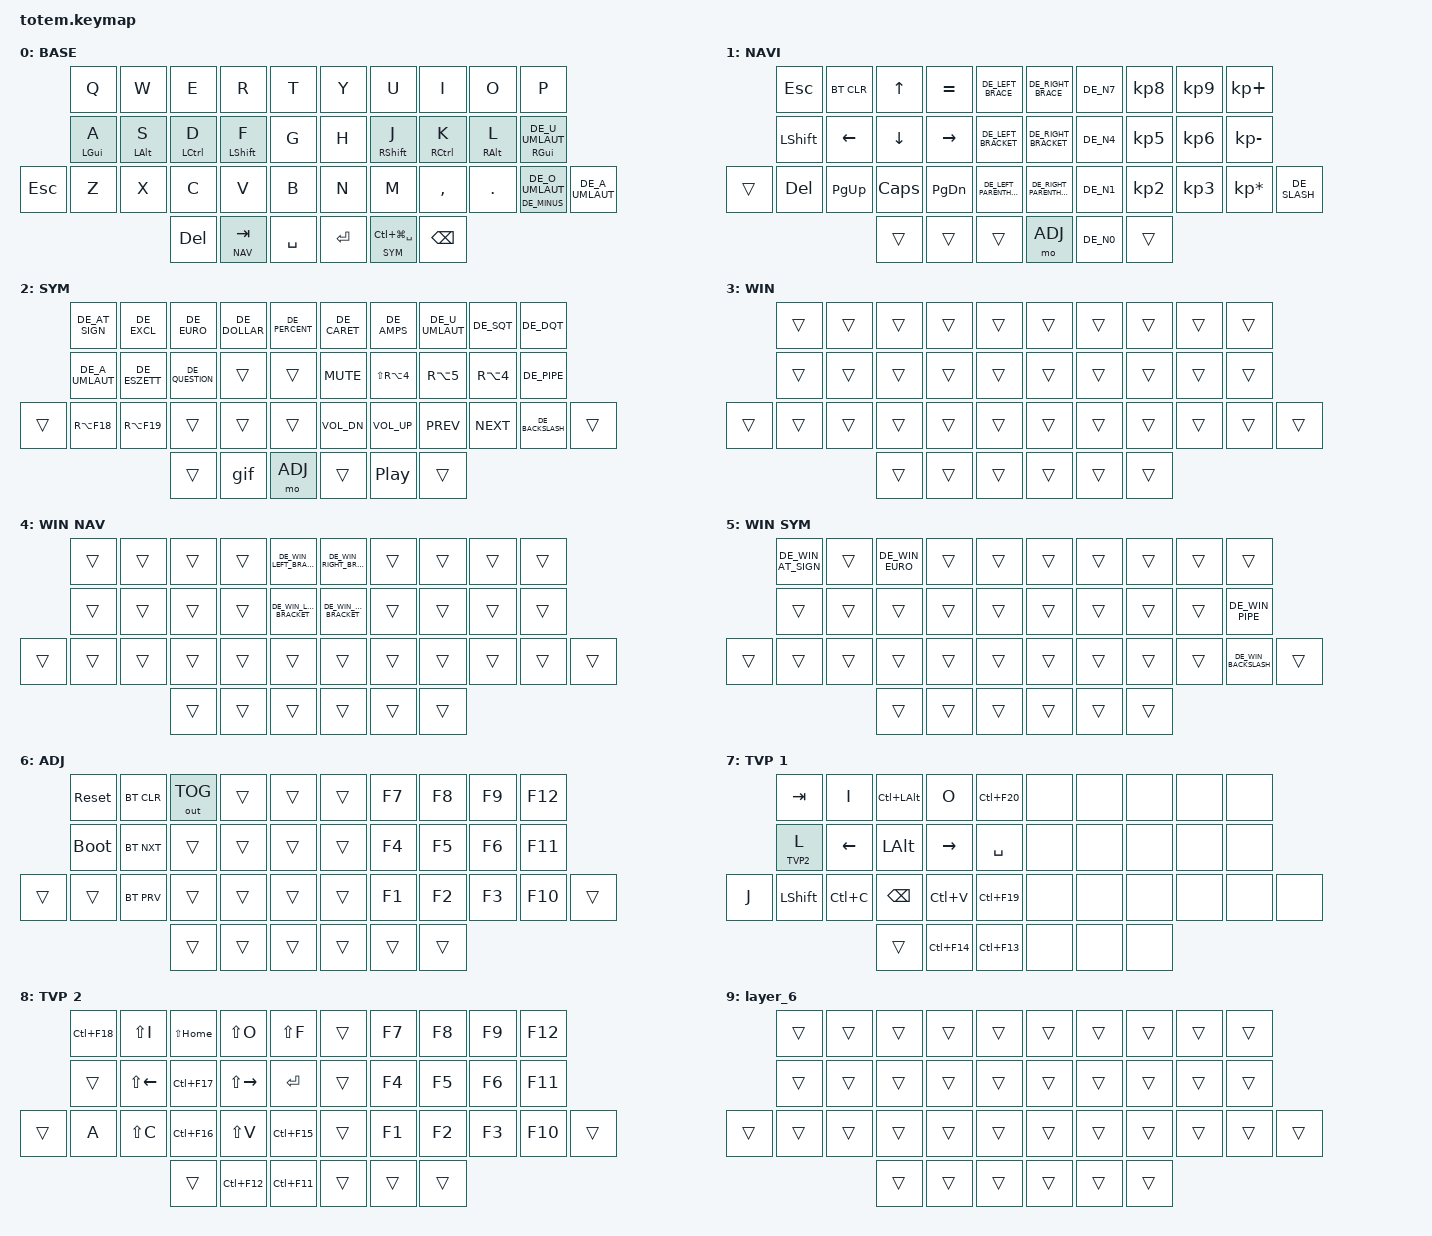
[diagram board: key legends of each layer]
//
//                                                        ▀▀▀▀▀     ▀▀▀▀▀          ▀▀█▀▀
//                                                        ▄▀▀▀▄  ▄  ▄▀▀▀▄  ▄  ▄▀▀▀▄  █  ▄▀▀▀▄
//                                                        █   █  █  █   █  █  █   █  █  █   █
//                                                         ▀▀▀   █   ▀▀▀   █   ▀▀▀   ▀   ▀▀▀
//                                                               █      ▄▄▄█▄▄▄    █   █
//                                                               ▀      █  █  █     █▄█
//                                                             ▀▀▀▀▀    █  █  █      ▀
//                                                                      ▀  ▀  ▀
//
// ▄▄▄▄▄▄▄▄▄▄▄▄▄▄▄▄▄▄▄▄▄▄▄▄▄▄▄▄▄▄▄▄▄▄▄▄▄▄▄▄▄▄▄▄▄▄▄▄▄▄▄▄▄▄▄▄▄▄▄▄▄▄▄▄▄▄▄▄▄▄▄▄▄▄▄▄▄▄▄▄▄▄▄▄▄▄▄▄▄▄▄▄▄▄▄▄▄▄▄▄▄▄▄▄▄▄▄▄▄▄▄▄▄▄▄▄▄▄▄▄▄▄▄▄▄▄▄▄▄▄▄▄▄▄▄▄▄▄▄▄▄▄▄▄▄▄▄▄▄

#include "keys_de.h"

//#include "keymap_german.h"

#include <behaviors.dtsi>
#include <dt-bindings/zmk/bt.h>
#include <dt-bindings/zmk/keys.h>
#include <dt-bindings/zmk/outputs.h>

#define BASE 0
#define NAV  1
#define SYM  2
#define ADJ  3
#define TVP1    4
#define TVP2    5
#define WIN     6  // Toggle for Windows/Linux German third-level symbols
#define WIN_NAV 7  // Active automatically when WIN + NAV are on
#define WIN_SYM 8  // Active automatically when WIN + SYM are on

&mt {
    quick-tap-ms = <130>;
    global-quick-tap;
    flavor = "tap-preferred";
    tapping-term-ms = <200>;
};

/ {
    combos {
        compatible = "zmk,combos";

        combo_esc {
            timeout-ms = <50>;
            key-positions = <0 1>;
            bindings = <&kp ESC>;
        };

        combo_tvp {
            timeout-ms = <100>;
            key-positions = <11 12 13>;
            bindings = <&tog TVP1>;
        };
    };

    conditional_layers {
        compatible = "zmk,conditional-layers";

        win_nav_cond {
            if-layers = <WIN NAV>;
            then-layer = <WIN_NAV>;
        };

        win_sym_cond {
            if-layers = <WIN SYM>;
            then-layer = <WIN_SYM>;
        };
    };

    macros {
        gif: gif {
            label = "giphy";
            compatible = "zmk,behavior-macro";
            #binding-cells = <0>;
            bindings =
                <&macro_press>,
                <&kp LSHFT>,
                <&macro_tap>,
                <&kp N2>,
                <&macro_release>,
                <&kp LSHFT>,
                <&macro_tap>,
                <&kp G &kp I &kp F>;
        };

        emoji: emoji {
            compatible = "zmk,behavior-macro";
            #binding-cells = <0>;
            bindings = <&kp LC(LEFT_COMMAND) &kp SPACE>;
            label = "EMOJI";
        };
    };

    keymap {
        compatible = "zmk,keymap";

        // ▄▄▄▄▄▄▄▄▄▄▄▄▄▄▄▄▄▄▄▄▄▄▄▄▄▄▄▄▄▄▄▄▄▄▄▄▄▄▄▄▄▄▄▄▄▄▄▄▄▄▄▄▄▄▄▄▄▄▄▄▄▄▄▄▄▄▄▄▄▄▄▄▄▄▄▄▄▄▄▄▄▄▄▄▄▄▄▄▄▄▄▄▄▄▄▄▄▄▄▄▄▄▄▄▄▄▄▄▄▄▄▄▄▄▄▄▄▄▄▄▄▄▄▄▄▄▄▄▄▄▄▄▄▄▄▄▄▄▄▄▄▄▄▄▄▄▄▄▄

        base_layer {
            // ┏━━━━━━━━━━━━━━━━━━━━━━━━━━━━━━━━━━━━━━━┓

            label = "BASE";

            // ┗━━━━━━━━━━━━━━━━━━━━━━━━━━━━━━━━━━━━━━━┛
            //             ┏━━━━━━━━━━━┳━━━━━━━━━━━┳━━━━━━━━━━━┳━━━━━━━━━━━┳━━━━━━━━━━━┓   ┏━━━━━━━━━━━┳━━━━━━━━━━━┳━━━━━━━━━━━┳━━━━━━━━━━━┳━━━━━━━━━━━┓
            //             ┃     Q     ┃     W     ┃     F     ┃     P     ┃     G     ┃   ┃     J     ┃     L     ┃     U     ┃     Y     ┃     ;     ┃
            //             ┣━━━━━━━━━━━╋━━━━━━━━━━━╋━━━━━━━━━━━╋━━━━━━━━━━━╋━━━━━━━━━━━┫   ┣━━━━━━━━━━━╋━━━━━━━━━━━╋━━━━━━━━━━━╋━━━━━━━━━━━╋━━━━━━━━━━━┫
            //             ┃     A     ┃     R     ┃     S     ┃     T     ┃     D     ┃   ┃     H     ┃     N     ┃     E     ┃     I     ┃     O     ┃
            // ┏━━━━━━━━━━━╋━━━━━━━━━━━╋━━━━━━━━━━━╋━━━━━━━━━━━╋━━━━━━━━━━━╋━━━━━━━━━━━┫   ┣━━━━━━━━━━━╋━━━━━━━━━━━╋━━━━━━━━━━━╋━━━━━━━━━━━╋━━━━━━━━━━━╋━━━━━━━━━━━┓
            // ┃     Q     ┃     Z     ┃     X     ┃     C     ┃     V     ┃     B     ┃   ┃     K     ┃     M     ┃     ,     ┃     .     ┃     /     ┃     \     ┃
            // ┗━━━━━━━━━━━┻━━━━━━━━━━━┻━━━━━━━━━━━╋━━━━━━━━━━━╋━━━━━━━━━━━╋━━━━━━━━━━━┫   ┣━━━━━━━━━━━╋━━━━━━━━━━━╋━━━━━━━━━━━╋━━━━━━━━━━━┻━━━━━━━━━━━┻━━━━━━━━━━━┛
            //                                     ┃    DEL    ┃    TAB    ┃    SPC    ┃   ┃   ENTER   ┃           ┃   BSPC    ┃
            //                                     ┗━━━━━━━━━━━┻━━━━━━━━━━━┻━━━━━━━━━━━┛   ┗━━━━━━━━━━━┻━━━━━━━━━━━┻━━━━━━━━━━━┛

            bindings = <
         &kp Q       &kp W       &kp E        &kp R        &kp T        &kp Y    &kp U                  &kp I        &kp O       &kp P
         &mt LGUI A  &mt LALT S  &mt LCTRL D  &mt LSHFT F  &kp G        &kp H    &mt RSHFT J            &mt RCTRL K  &mt RALT L  &mt RGUI DE_U_UMLAUT
&kp ESC  &kp Z       &kp X       &kp C        &kp V        &kp B        &kp N    &kp M                  &kp COMMA    &kp DOT     &mt DE_MINUS DE_O_UMLAUT  &kp DE_A_UMLAUT
                                 &kp DEL      &lt NAV TAB  &kp SPACE    &kp RET  &lt SYM LC(LG(SPACE))  &kp BSPC
            >;
        };

        // ▄▄▄▄▄▄▄▄▄▄▄▄▄▄▄▄▄▄▄▄▄▄▄▄▄▄▄▄▄▄▄▄▄▄▄▄▄▄▄▄▄▄▄▄▄▄▄▄▄▄▄▄▄▄▄▄▄▄▄▄▄▄▄▄▄▄▄▄▄▄▄▄▄▄▄▄▄▄▄▄▄▄▄▄▄▄▄▄▄▄▄▄▄▄▄▄▄▄▄▄▄▄▄▄▄▄▄▄▄▄▄▄▄▄▄▄▄▄▄▄▄▄▄▄▄▄▄▄▄▄▄▄▄▄▄▄▄▄▄▄▄▄▄▄▄▄▄▄▄

        nav_layer {
            // ┏━━━━━━━━━━━━━━━━━━━━━━━━━━━━━━━━━━━━━━━┓

            label = "NAVI";

            // ┗━━━━━━━━━━━━━━━━━━━━━━━━━━━━━━━━━━━━━━━┛
            //             ┏━━━━━━━━━━━┳━━━━━━━━━━━┳━━━━━━━━━━━┳━━━━━━━━━━━┳━━━━━━━━━━━┓   ┏━━━━━━━━━━━┳━━━━━━━━━━━┳━━━━━━━━━━━┳━━━━━━━━━━━┳━━━━━━━━━━━┓
            //             ┃           ┃           ┃     UP    ┃           ┃     {     ┃   ┃     }     ┃     7     ┃     8     ┃     9     ┃     +     ┃
            //             ┣━━━━━━━━━━━╋━━━━━━━━━━━╋━━━━━━━━━━━╋━━━━━━━━━━━╋━━━━━━━━━━━┫   ┣━━━━━━━━━━━╋━━━━━━━━━━━╋━━━━━━━━━━━╋━━━━━━━━━━━╋━━━━━━━━━━━┫
            //             ┃   SHIFT   ┃   LEFT    ┃    DOWN   ┃   RIGHT   ┃     [     ┃   ┃     ]     ┃     4     ┃     5     ┃     6     ┃     -     ┃
            // ┏━━━━━━━━━━━╋━━━━━━━━━━━╋━━━━━━━━━━━╋━━━━━━━━━━━╋━━━━━━━━━━━╋━━━━━━━━━━━┫   ┣━━━━━━━━━━━╋━━━━━━━━━━━╋━━━━━━━━━━━╋━━━━━━━━━━━╋━━━━━━━━━━━╋━━━━━━━━━━━┓
            // ┃           ┃           ┃   P UP    ┃  C LOCK   ┃  P DOWN   ┃     (     ┃   ┃     )     ┃     1     ┃     2     ┃     3     ┃     *     ┃           ┃
            // ┗━━━━━━━━━━━┻━━━━━━━━━━━┻━━━━━━━━━━━╋━━━━━━━━━━━╋━━━━━━━━━━━╋━━━━━━━━━━━┫   ┣━━━━━━━━━━━╋━━━━━━━━━━━╋━━━━━━━━━━━╋━━━━━━━━━━━┻━━━━━━━━━━━┻━━━━━━━━━━━┛
            //                                     ┃           ┃    TAB    ┃    SPC    ┃   ┃    DEL    ┃     0     ┃           ┃
            //                                     ┗━━━━━━━━━━━┻━━━━━━━━━━━┻━━━━━━━━━━━┛   ┗━━━━━━━━━━━┻━━━━━━━━━━━┻━━━━━━━━━━━┛

            bindings = <
        &kp ESC    &bt BT_CLR  &kp UP    &kp EQUAL  &kp DE_LEFT_BRACE          &kp DE_RIGHT_BRACE        &kp DE_N7  &kp KP_N8  &kp KP_N9  &kp KP_PLUS
        &kp LSHFT  &kp LEFT    &kp DOWN  &kp RIGHT  &kp DE_LEFT_BRACKET        &kp DE_RIGHT_BRACKET      &kp DE_N4  &kp KP_N5  &kp KP_N6  &kp KP_MINUS
&trans  &kp DEL    &kp PG_UP   &kp CAPS  &kp PG_DN  &kp DE_LEFT_PARENTHESIS    &kp DE_RIGHT_PARENTHESIS  &kp DE_N1  &kp KP_N2  &kp KP_N3  &kp KP_MULTIPLY  &kp DE_SLASH
                               &trans    &trans     &trans                     &mo ADJ                   &kp DE_N0  &trans
            >;
        };

        // ▄▄▄▄▄▄▄▄▄▄▄▄▄▄▄▄▄▄▄▄▄▄▄▄▄▄▄▄▄▄▄▄▄▄▄▄▄▄▄▄▄▄▄▄▄▄▄▄▄▄▄▄▄▄▄▄▄▄▄▄▄▄▄▄▄▄▄▄▄▄▄▄▄▄▄▄▄▄▄▄▄▄▄▄▄▄▄▄▄▄▄▄▄▄▄▄▄▄▄▄▄▄▄▄▄▄▄▄▄▄▄▄▄▄▄▄▄▄▄▄▄▄▄▄▄▄▄▄▄▄▄▄▄▄▄▄▄▄▄▄▄▄▄▄▄▄▄▄▄

        sim_layer {
            // ┏━━━━━━━━━━━━━━━━━━━━━━━━━━━━━━━━━━━━━━━┓

            label = "SYM";

            // ┗━━━━━━━━━━━━━━━━━━━━━━━━━━━━━━━━━━━━━━━┛
            //             ┏━━━━━━━━━━━┳━━━━━━━━━━━┳━━━━━━━━━━━┳━━━━━━━━━━━┳━━━━━━━━━━━┓   ┏━━━━━━━━━━━┳━━━━━━━━━━━┳━━━━━━━━━━━┳━━━━━━━━━━━┳━━━━━━━━━━━┓
            //             ┃     !     ┃     @     ┃     #     ┃     $     ┃     %     ┃   ┃     ˆ     ┃     &     ┃     Ü     ┃     '     ┃     "     ┃
            //             ┣━━━━━━━━━━━╋━━━━━━━━━━━╋━━━━━━━━━━━╋━━━━━━━━━━━╋━━━━━━━━━━━┫   ┣━━━━━━━━━━━╋━━━━━━━━━━━╋━━━━━━━━━━━╋━━━━━━━━━━━╋━━━━━━━━━━━┫
            //             ┃     Ä     ┃           ┃    SZ     ┃           ┃           ┃   ┃   MUTE    ┃   YEN     ┃   EURO    ┃  POUND    ┃     Ö     ┃
            // ┏━━━━━━━━━━━╋━━━━━━━━━━━╋━━━━━━━━━━━╋━━━━━━━━━━━╋━━━━━━━━━━━╋━━━━━━━━━━━┫   ┣━━━━━━━━━━━╋━━━━━━━━━━━╋━━━━━━━━━━━╋━━━━━━━━━━━╋━━━━━━━━━━━╋━━━━━━━━━━━┓
            // ┃           ┃  EMAIL1   ┃  EMAIL2   ┃           ┃           ┃           ┃   ┃   VOL-    ┃   VOL+    ┃   LAST    ┃   NEXT    ┃     \     ┃           ┃
            // ┗━━━━━━━━━━━┻━━━━━━━━━━━┻━━━━━━━━━━━╋━━━━━━━━━━━╋━━━━━━━━━━━╋━━━━━━━━━━━┫   ┣━━━━━━━━━━━╋━━━━━━━━━━━╋━━━━━━━━━━━╋━━━━━━━━━━━┻━━━━━━━━━━━┻━━━━━━━━━━━┛
            //                                     ┃           ┃    GIF    ┃    ADJ    ┃   ┃           ┃           ┃           ┃
            //                                     ┗━━━━━━━━━━━┻━━━━━━━━━━━┻━━━━━━━━━━━┛   ┗━━━━━━━━━━━┻━━━━━━━━━━━┻━━━━━━━━━━━┛

            bindings = <
        &kp DE_AT_SIGN    &kp DE_EXCL    &kp DE_EURO      &kp DE_DOLLAR  &kp DE_PERCENT    &kp DE_CARET   &kp DE_AMPS      &kp DE_U_UMLAUT  &kp DE_SQT   &kp DE_DQT
        &kp DE_A_UMLAUT  &kp DE_ESZETT  &kp DE_QUESTION  &trans         &trans            &kp C_MUTE     &kp LS(RA(N4))  &kp RA(N5)      &kp RA(N4)  &kp DE_PIPE
&trans  &kp RA(F18)       &kp RA(F19)    &trans           &trans         &trans            &kp C_VOL_DN   &kp C_VOL_UP    &kp C_PREV  &kp C_NEXT  &kp DE_BACKSLASH  &trans
                                       &trans           &gif           &mo ADJ           &trans        &kp C_PP        &trans
            >;
        };

        // ▄▄▄▄▄▄▄▄▄▄▄▄▄▄▄▄▄▄▄▄▄▄▄▄▄▄▄▄▄▄▄▄▄▄▄▄▄▄▄▄▄▄▄▄▄▄▄▄▄▄▄▄▄▄▄▄▄▄▄▄▄▄▄▄▄▄▄▄▄▄▄▄▄▄▄▄▄▄▄▄▄▄▄▄▄▄▄▄▄▄▄▄▄▄▄▄▄▄▄▄▄▄▄▄▄▄▄▄▄▄▄▄▄▄▄▄▄▄▄▄▄▄▄▄▄▄▄▄▄▄▄▄▄▄▄▄▄▄▄▄▄▄▄▄▄▄▄▄▄

        win_layer {
            label = "WIN";
            bindings = <
        &trans  &trans  &trans  &trans  &trans    &trans  &trans  &trans  &trans  &trans
        &trans  &trans  &trans  &trans  &trans    &trans  &trans  &trans  &trans  &trans
&trans  &trans  &trans  &trans  &trans  &trans    &trans  &trans  &trans  &trans  &trans  &trans
                        &trans  &trans  &trans    &trans  &trans  &trans
            >;
        };

        win_nav_layer {
            label = "WIN NAV";
            bindings = <
        &trans  &trans  &trans  &trans  &kp DE_WIN_LEFT_BRACE    &kp DE_WIN_RIGHT_BRACE    &trans  &trans  &trans  &trans
        &trans  &trans  &trans  &trans  &kp DE_WIN_LEFT_BRACKET  &kp DE_WIN_RIGHT_BRACKET  &trans  &trans  &trans  &trans
&trans  &trans  &trans  &trans  &trans  &trans                   &trans                    &trans  &trans  &trans  &trans  &trans
                        &trans  &trans  &trans                   &trans                    &trans  &trans
            >;
        };

        win_sym_layer {
            label = "WIN SYM";
            bindings = <
        &kp DE_WIN_AT_SIGN  &trans  &kp DE_WIN_EURO  &trans  &trans  &trans  &trans  &trans  &trans  &trans
        &trans              &trans  &trans           &trans  &trans  &trans  &trans  &trans  &trans  &kp DE_WIN_PIPE
&trans  &trans              &trans  &trans           &trans  &trans  &trans  &trans  &trans  &trans  &kp DE_WIN_BACKSLASH  &trans
                                &trans           &trans  &trans  &trans  &trans  &trans
            >;
        };

        adjust_layer {
            // ┏━━━━━━━━━━━━━━━━━━━━━━━━━━━━━━━━━━━━━━━┓

            label = "ADJ";

            // ┗━━━━━━━━━━━━━━━━━━━━━━━━━━━━━━━━━━━━━━━┛
            //             ┏━━━━━━━━━━━┳━━━━━━━━━━━┳━━━━━━━━━━━┳━━━━━━━━━━━┳━━━━━━━━━━━┓   ┏━━━━━━━━━━━┳━━━━━━━━━━━┳━━━━━━━━━━━┳━━━━━━━━━━━┳━━━━━━━━━━━┓
            //             ┃   RESET   ┃ BT CLEAR  ┃  OUT TOG  ┃           ┃           ┃   ┃           ┃    F7     ┃    F8     ┃    F9     ┃    F12    ┃
            //             ┣━━━━━━━━━━━╋━━━━━━━━━━━╋━━━━━━━━━━━╋━━━━━━━━━━━╋━━━━━━━━━━━┫   ┣━━━━━━━━━━━╋━━━━━━━━━━━╋━━━━━━━━━━━╋━━━━━━━━━━━╋━━━━━━━━━━━┫
            //             ┃ BOOTLOAD  ┃ BT NEXT   ┃           ┃           ┃           ┃   ┃           ┃    F4     ┃    F5     ┃    F6     ┃    F11    ┃
            // ┏━━━━━━━━━━━╋━━━━━━━━━━━╋━━━━━━━━━━━╋━━━━━━━━━━━╋━━━━━━━━━━━╋━━━━━━━━━━━┫   ┣━━━━━━━━━━━╋━━━━━━━━━━━╋━━━━━━━━━━━╋━━━━━━━━━━━╋━━━━━━━━━━━╋━━━━━━━━━━━┓
            // ┃           ┃           ┃ BT PREV   ┃           ┃           ┃           ┃   ┃           ┃    F1     ┃    F2     ┃    F3     ┃    F10    ┃           ┃
            // ┗━━━━━━━━━━━┻━━━━━━━━━━━┻━━━━━━━━━━━╋━━━━━━━━━━━╋━━━━━━━━━━━╋━━━━━━━━━━━┫   ┣━━━━━━━━━━━╋━━━━━━━━━━━╋━━━━━━━━━━━╋━━━━━━━━━━━┻━━━━━━━━━━━┻━━━━━━━━━━━┛
            //                                     ┃           ┃           ┃           ┃   ┃           ┃           ┃           ┃
            //                                     ┗━━━━━━━━━━━┻━━━━━━━━━━━┻━━━━━━━━━━━┛   ┗━━━━━━━━━━━┻━━━━━━━━━━━┻━━━━━━━━━━━┛

            bindings = <
        &sys_reset   &bt BT_CLR  &out OUT_TOG  &trans   &trans    &trans  &kp F7  &kp F8  &kp F9  &kp F12
        &bootloader  &bt BT_NXT  &trans        &trans  &trans    &trans  &kp F4  &kp F5  &kp F6  &kp F11
&trans  &trans       &bt BT_PRV  &trans        &trans  &trans    &trans  &kp F1  &kp F2  &kp F3  &kp F10  &trans
                                 &trans        &trans  &trans    &trans  &trans  &trans
            >;
        };

        // ▄▄▄▄▄▄▄▄▄▄▄▄▄▄▄▄▄▄▄▄▄▄▄▄▄▄▄▄▄▄▄▄▄▄▄▄▄▄▄▄▄▄▄▄▄▄▄▄▄▄▄▄▄▄▄▄▄▄▄▄▄▄▄▄▄▄▄▄▄▄▄▄▄▄▄▄▄▄▄▄▄▄▄▄▄▄▄▄▄▄▄▄▄▄▄▄▄▄▄▄▄▄▄▄▄▄▄▄▄▄▄▄▄▄▄▄▄▄▄▄▄▄▄▄▄▄▄▄▄▄▄▄▄▄▄▄▄▄▄▄▄▄▄▄▄▄▄▄▄

        tvp1_layer {
            // ┏━━━━━━━━━━━━━━━━━━━━━━━━━━━━━━━━━━━━━━━┓

            label = "TVP 1";

            // ┗━━━━━━━━━━━━━━━━━━━━━━━━━━━━━━━━━━━━━━━┛
            //             ┏━━━━━━━━━━━┳━━━━━━━━━━━┳━━━━━━━━━━━┳━━━━━━━━━━━┳━━━━━━━━━━━┓   ┏━━━━━━━━━━━┳━━━━━━━━━━━┳━━━━━━━━━━━┳━━━━━━━━━━━┳━━━━━━━━━━━┓
            //             ┃ NEXT FILE ┃ MARK IN   ┃ ROTATE    ┃ MARK OUT  ┃ SHOW SNAP ┃   ┃           ┃           ┃           ┃           ┃           ┃
            //             ┣━━━━━━━━━━━╋━━━━━━━━━━━╋━━━━━━━━━━━╋━━━━━━━━━━━╋━━━━━━━━━━━┫   ┣━━━━━━━━━━━╋━━━━━━━━━━━╋━━━━━━━━━━━╋━━━━━━━━━━━╋━━━━━━━━━━━┫
            //             ┃ TVP II    ┃ LEFT      ┃ PAN       ┃ RIGHT     ┃ PLAY/FLIP ┃   ┃           ┃           ┃           ┃           ┃           ┃
            // ┏━━━━━━━━━━━╋━━━━━━━━━━━╋━━━━━━━━━━━╋━━━━━━━━━━━╋━━━━━━━━━━━╋━━━━━━━━━━━┫   ┣━━━━━━━━━━━╋━━━━━━━━━━━╋━━━━━━━━━━━╋━━━━━━━━━━━╋━━━━━━━━━━━╋━━━━━━━━━━━┓
            // ┃ FULLSCR   ┃ SHIFT     ┃ COPY      ┃ DELETE    ┃ PASTE     ┃ IMG MARK  ┃   ┃           ┃           ┃           ┃           ┃           ┃           ┃
            // ┗━━━━━━━━━━━┻━━━━━━━━━━━┻━━━━━━━━━━━╋━━━━━━━━━━━╋━━━━━━━━━━━╋━━━━━━━━━━━┫   ┣━━━━━━━━━━━╋━━━━━━━━━━━╋━━━━━━━━━━━╋━━━━━━━━━━━┻━━━━━━━━━━━┻━━━━━━━━━━━┛
            //                                     ┃           ┃ UNDO/SAVE ┃  SEL/MOV  ┃   ┃           ┃           ┃           ┃
            //                                     ┗━━━━━━━━━━━┻━━━━━━━━━━━┻━━━━━━━━━━━┛   ┗━━━━━━━━━━━┻━━━━━━━━━━━┻━━━━━━━━━━━┛

            bindings = <
       &kp TAB     &kp I      &kp LC(LALT)  &kp O        &kp LC(F20)    &none  &none  &none  &none  &none
       &lt TVP2 L  &kp LEFT   &kp LALT      &kp RIGHT    &kp SPACE      &none  &none  &none  &none  &none
&kp J  &kp LSHFT   &kp LC(C)  &kp BSPC      &kp LC(V)    &kp LC(F19)    &none  &none  &none  &none  &none  &none
                              &trans        &kp LC(F14)  &kp LC(F13)    &none  &none  &none
            >;
        };

        // ▄▄▄▄▄▄▄▄▄▄▄▄▄▄▄▄▄▄▄▄▄▄▄▄▄▄▄▄▄▄▄▄▄▄▄▄▄▄▄▄▄▄▄▄▄▄▄▄▄▄▄▄▄▄▄▄▄▄▄▄▄▄▄▄▄▄▄▄▄▄▄▄▄▄▄▄▄▄▄▄▄▄▄▄▄▄▄▄▄▄▄▄▄▄▄▄▄▄▄▄▄▄▄▄▄▄▄▄▄▄▄▄▄▄▄▄▄▄▄▄▄▄▄▄▄▄▄▄▄▄▄▄▄▄▄▄▄▄▄▄▄▄▄▄▄▄▄▄▄

        tvp2_layer {
            // ┏━━━━━━━━━━━━━━━━━━━━━━━━━━━━━━━━━━━━━━━┓

            label = "TVP 2";

            // ┗━━━━━━━━━━━━━━━━━━━━━━━━━━━━━━━━━━━━━━━┛
            //             ┏━━━━━━━━━━━┳━━━━━━━━━━━┳━━━━━━━━━━━┳━━━━━━━━━━━┳━━━━━━━━━━━┓   ┏━━━━━━━━━━━┳━━━━━━━━━━━┳━━━━━━━━━━━┳━━━━━━━━━━━┳━━━━━━━━━━━┓
            //             ┃ SOLO      ┃ TOGGLE IN ┃ RESET ROT ┃ TOGGLE OUT┃ TAKE SNAP ┃   ┃           ┃           ┃           ┃           ┃           ┃
            //             ┣━━━━━━━━━━━╋━━━━━━━━━━━╋━━━━━━━━━━━╋━━━━━━━━━━━╋━━━━━━━━━━━┫   ┣━━━━━━━━━━━╋━━━━━━━━━━━╋━━━━━━━━━━━╋━━━━━━━━━━━╋━━━━━━━━━━━┫
            //             ┃ ---       ┃ LAST KEY  ┃ NEW KEY   ┃ NEXT KEY  ┃ ENTER     ┃   ┃           ┃           ┃           ┃           ┃           ┃
            // ┏━━━━━━━━━━━╋━━━━━━━━━━━╋━━━━━━━━━━━╋━━━━━━━━━━━╋━━━━━━━━━━━╋━━━━━━━━━━━┫   ┣━━━━━━━━━━━╋━━━━━━━━━━━╋━━━━━━━━━━━╋━━━━━━━━━━━╋━━━━━━━━━━━╋━━━━━━━━━━━┓
            // ┃           ┃ FULLSCR   ┃ CPY2BRUSH ┃ DEL HEAD  ┃ PSTinPLACE┃ BOOK MARK ┃   ┃           ┃           ┃           ┃           ┃           ┃           ┃
            // ┗━━━━━━━━━━━┻━━━━━━━━━━━┻━━━━━━━━━━━╋━━━━━━━━━━━╋━━━━━━━━━━━╋━━━━━━━━━━━┫   ┣━━━━━━━━━━━╋━━━━━━━━━━━╋━━━━━━━━━━━╋━━━━━━━━━━━┻━━━━━━━━━━━┻━━━━━━━━━━━┛
            //                                     ┃           ┃ REDO/SAV1 ┃TRANS/WARP ┃   ┃           ┃           ┃           ┃
            //                                     ┗━━━━━━━━━━━┻━━━━━━━━━━━┻━━━━━━━━━━━┛   ┗━━━━━━━━━━━┻━━━━━━━━━━━┻━━━━━━━━━━━┛

            bindings = <
        &kp LC(F18)  &kp LS(I)     &kp LS(HOME)  &kp LS(O)      &kp LS(F)      &trans  &kp F7  &kp F8  &kp F9  &kp F12
        &trans       &kp LS(LEFT)  &kp LC(F17)   &kp LS(RIGHT)  &kp RET        &trans  &kp F4  &kp F5  &kp F6  &kp F11
&trans  &kp A        &kp LS(C)     &kp LC(F16)   &kp LS(V)      &kp LC(F15)    &trans  &kp F1  &kp F2  &kp F3  &kp F10  &trans
                                   &trans        &kp LC(F12)    &kp LC(F11)    &trans  &trans  &trans
            >;
        };

        layer_6 {
            bindings = <
        &trans  &trans  &trans  &trans  &trans    &trans  &trans  &trans  &trans  &trans
        &trans  &trans  &trans  &trans  &trans    &trans  &trans  &trans  &trans  &trans
&trans  &trans  &trans  &trans  &trans  &trans    &trans  &trans  &trans  &trans  &trans  &trans
                        &trans  &trans  &trans    &trans  &trans  &trans
            >;
        };
    };
};
